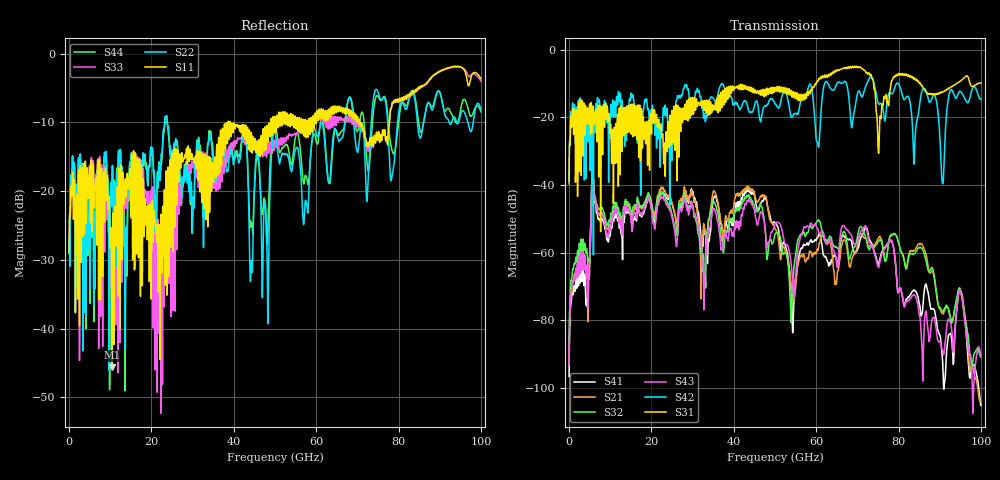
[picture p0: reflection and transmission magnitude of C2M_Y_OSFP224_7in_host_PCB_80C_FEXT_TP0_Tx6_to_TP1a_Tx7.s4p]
# GHz S RI R 45
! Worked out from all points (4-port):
!   4000 points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, 25 MHz to 100 GHz, reference 45 ohm
!   strongest paths, dB at 25 MHz, 25.02 GHz, 50.02 GHz, 75.03 GHz, 100 GHz:
!     S31: -39.7, -17.9, -11.1, -28.4, -9.8
!     S42: -38.9, -28.8, -16.1, -15.6, -14.6
!     S43: -93.0, -49.6, -51.5, -64.0, -90.5
!     S32: -86.2, -48.6, -54.4, -56.7, -90.8
!     S21: -93.1, -45.1, -52.8, -55.8, -103.8
!     S41: -96.5, -45.5, -51.2, -63.1, -105.1
!   lowest |S11| = -45.6 dB at 10.4 GHz (marker M1), VSWR 1.01, Z = 44.8 - j0.408 ohm
!   |S11| at or under -10 dB: start of sweep to 38.64 GHz; 39.18 GHz to 48.95 GHz (9.772 GHz wide, 22.2 % of centre); 70.65 GHz to 77.8 GHz (7.152 GHz wide, 9.64 % of centre)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
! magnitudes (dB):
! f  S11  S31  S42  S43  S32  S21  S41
! 25 MHz  -28.9  -39.7  -38.9  -93.0  -86.2  -93.1  -96.5
! 5.875 GHz  -16.0  -16.7  -27.9  -37.4  -37.2  -37.6  -37.8
! 10.4 GHz  -45.6  -29.7  -19.5  -50.9  -48.6  -50.1  -52.7
! 54.3 GHz  -9.3  -13.2  -19.8  -68.5  -70.0  -73.6  -83.6
! 73.33 GHz  -13.3  -7.4  -7.9  -57.5  -58.4  -57.8  -56.9
! 90.67 GHz  -2.4  -12.5  -39.5  -88.9  -77.2  -77.8  -91.4
! 100 GHz  -3.6  -9.8  -14.6  -90.5  -90.8  -103.8  -105.1
